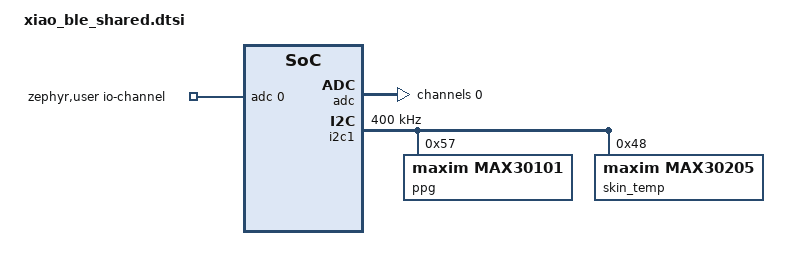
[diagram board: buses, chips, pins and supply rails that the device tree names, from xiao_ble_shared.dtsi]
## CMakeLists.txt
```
# SPDX-License-Identifier: Apache-2.0

cmake_minimum_required(VERSION 3.20.0)
find_package(Zephyr REQUIRED HINTS $ENV{ZEPHYR_BASE})
project(zephyr-poc-app)

target_sources(app PRIVATE
    src/main.c
    src/persp/persp.c
    src/ble/ble.c
    src/max/hr_main.c
    src/max/bench.c
    src/max/classic_hr.c
    src/max/spectral_hr.c
    src/skin-temp/max30205.c
)

# IMU / motion cancelling: Sense board only (xiao_ble/nrf52840/sense).
# On the plain board, src/motion/motion.h supplies stubs instead.
target_sources_ifdef(CONFIG_LSM6DSL app PRIVATE src/motion/motion.c)
```

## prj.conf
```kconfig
CONFIG_STDOUT_CONSOLE=y
CONFIG_PRINTK=y
CONFIG_PWM=y
CONFIG_LOG=y
CONFIG_LOG_PRINTK=y
# Deferred, not immediate: immediate logging holds interrupts off while it
# prints, which can trip the Bluetooth controller's timing asserts.
CONFIG_LOG_MODE_DEFERRED=y
CONFIG_LOG_BUFFER_SIZE=4096
CONFIG_PWM_LOG_LEVEL_DBG=y
CONFIG_CBPRINTF_FP_SUPPORT=y
CONFIG_I2C=y
CONFIG_CPP=y

# Explicitly enable legacy USB stack and disable the next-gen stack
CONFIG_USB_DEVICE_STACK=y
CONFIG_USB_DEVICE_STACK_NEXT=n
CONFIG_USB_DEVICE_INITIALIZE_AT_BOOT=y

# Enable serial and console over USB
CONFIG_SERIAL=y
CONFIG_CONSOLE=y
CONFIG_UART_CONSOLE=y
CONFIG_UART_LINE_CTRL=y

CONFIG_I2C=y
CONFIG_SENSOR=y
CONFIG_MAX30101=y
CONFIG_ADC=y

# Bluetooth sends will run from the sensor work item.
CONFIG_SYSTEM_WORKQUEUE_STACK_SIZE=4096

# --- Bluetooth LE peripheral -------------------------------------------------
CONFIG_BT=y
CONFIG_BT_PERIPHERAL=y
CONFIG_BT_DEVICE_NAME="Wrist-POC"
CONFIG_BT_MAX_CONN=1
# Nordic UART Service (NCS): the service the overview dashboard connects to.
CONFIG_BT_NUS=y

# Hardware floating point for the heart-rate filters and autocorrelation.
CONFIG_FPU=y

# CMSIS-DSP (ARM's DSP library, ships with NCS): the FFT in src/max/spectral_hr.c
# and the bandpass filter in src/max/bandpass.h
CONFIG_CMSIS_DSP=y
CONFIG_CMSIS_DSP_TRANSFORM=y
CONFIG_CMSIS_DSP_FILTERING=y

# Room for the bench-mode raw stream (~1.5 KB/s) if the host is briefly slow.
CONFIG_USB_CDC_ACM_RINGBUF_SIZE=4096
```

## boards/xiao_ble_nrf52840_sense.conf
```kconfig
# Added on top of prj.conf only for: west build -b xiao_ble/nrf52840/sense
# Put IMU settings here, not in prj.conf: the plain board has no IMU, so
# these options don't exist there and would break its build.
#
# The LSM6DSL driver (CONFIG_LSM6DSL) switches itself on because the Sense
# devicetree has the IMU. Its rate and range are fixed at build time:

# 104 Hz, just above the 100 Hz PPG stream
CONFIG_LSM6DSL_ACCEL_ODR=4
# +/-4 g: enough for wrist motion
CONFIG_LSM6DSL_ACCEL_FS=4
```

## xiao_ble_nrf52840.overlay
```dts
/* Plain XIAO nRF52840 (no IMU): west build -b xiao_ble/nrf52840
 * Everything lives in the shared file; edit pins and sensors there. */
#include "xiao_ble_shared.dtsi"
```

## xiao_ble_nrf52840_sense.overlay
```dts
/* XIAO nRF52840 Sense: west build -b xiao_ble/nrf52840/sense
 * Pins and sensors shared with the plain board live in the shared file;
 * edit them there.
 *
 * The board files already enable the on-board LSM6DS3TR-C IMU
 * (node label lsm6ds3tr_c, i2c0 @ 0x6a, internal pins) and its power switch,
 * so nothing extra is needed here. It does not share a bus with the
 * MAX30101, which is on i2c1. IMU-only Kconfig lives in
 * boards/xiao_ble_nrf52840_sense.conf. */
#include "xiao_ble_shared.dtsi"

/* Start the IMU driver from motion_init() instead of during boot: at boot it runs
 * right after the IMU's power switch turns on and can fail before the chip is
 * ready ("IMU ... not ready"). By motion_init() power has been stable for a while. */
&lsm6ds3tr_c {
    zephyr,deferred-init;
};
```

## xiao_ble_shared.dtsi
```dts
/* Devicetree shared by every XIAO nRF52840 build (plain and Sense).
 * Edit pins and sensors here. The per-board overlays only #include this
 * file and add what is specific to that board:
 *   xiao_ble_nrf52840.overlay        -> west build -b xiao_ble/nrf52840
 *   xiao_ble_nrf52840_sense.overlay  -> west build -b xiao_ble/nrf52840/sense
 */

#include <zephyr/dt-bindings/adc/adc.h>
#include <zephyr/dt-bindings/adc/nrf-saadc.h>
#include <zephyr/dt-bindings/i2c/i2c.h>

/ {
    zephyr,user {
        io-channels = <&adc 0>;
    };
};

&adc {
    status = "okay";
    #address-cells = <1>;
    #size-cells = <0>;

    channel@0 {
        reg = <0>;
        zephyr,gain = "ADC_GAIN_1_6";
        zephyr,reference = "ADC_REF_INTERNAL";
        zephyr,acquisition-time =
            <ADC_ACQ_TIME(ADC_ACQ_TIME_MICROSECONDS, 40)>;
        zephyr,input-positive = <NRF_SAADC_AIN0>;
        zephyr,resolution = <12>;
    };
};

&i2c1 {
    status = "okay";
    clock-frequency = <I2C_BITRATE_FAST>;   /* 400 kHz, like I2C_SPEED_FAST on the ESP32 */

    /* Same setup as the ESP32 firmware (hr-max30101-ble/src/hr_dual_channel_patched_6.cpp):
     * setup(<current>, 4, 1, 400, 411, 4096), one LED in slot 1, multi-LED mode.
     * 400 samples/s with 4x on-chip averaging = 100 samples/s into the FIFO.
     *
     * The heart-rate code reads whichever LED is in slot 1 (1 red, 2 IR, 3 green)
     * and its current from led-pa, so switching LEDs is just these two lines
     * (or at runtime from the HR testing page's LED colour menu).
     *
     * Green, full current: on the wrist with the sealed harness (2026-11-14) it gave
     * the strongest pulse, AC/DC ~0.08% (0.04-0.13) vs IR ~0.04% and red ~0.01%.
     * Even at 0xFF it only reaches ~19% of the ADC range, so there is no headroom. */
    ppg: max30101@57 {
        compatible = "maxim,max30101";
        reg = <0x57>;
        acq-mode = "multi-led";
        led-slot = <3 2 0 0>;     /* slot 1 = green (heart rate), slot 2 = IR (streamed only) */
        led-pa = [00 1F FF];      /* red, IR, green: IR 0x1F (~44% of range on the wrist), green 0xFF ~50 mA */
        smp-ave = <4>;
        smp-sr = <400>;
        led-pw = <411>;           /* 411 us, 18-bit */
        adc-rge = <4096>;
        fifo-rollover-en;
    };

    skin_temp: max30205@48 {
        compatible = "maxim,max30205";
        reg = <0x48>;
    };
};

/* Internal pull-ups on SDA/SCL, like Arduino Wire on the ESP32 does.
 * Needed if the sensor board has no (or weak) pull-ups of its own. */
&i2c1_default {
    group1 {
        bias-pull-up;
    };
};
```

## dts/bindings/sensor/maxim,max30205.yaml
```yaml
description: Maxim MAX30205 human body temperature sensor

compatible: "maxim,max30205"

include: i2c-device.yaml
```

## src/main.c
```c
#include <stdint.h>
#include <stdbool.h>
#include <errno.h>

#include <zephyr/kernel.h>
#include <zephyr/drivers/uart.h>
#include <zephyr/logging/log.h>

#include "persp/persp.h"
#include "ble/ble.h"
#include "motion/motion.h"
#include "max/hr_main.h"
#include "skin-temp/max30205.h"

/* src/max/ logs under this module too (LOG_MODULE_DECLARE). */
LOG_MODULE_REGISTER(blinky_main, LOG_LEVEL_INF);

struct sensor_data {
    int hr;
    int resp_rate;
    int skin_resistance_kohms;
    float skin_temp;
    int32_t lat_e7;
    int32_t lon_e7;
    int steps;
    uint8_t active;   /* BIT(ACT_*) set = that field comes from a working sensor */
};
static struct sensor_data sd1;

struct k_work_delayable sensor_poll;
static struct k_work_delayable ppg_poll_work;

int respiration_handler(){return 20;}
int32_t gps_lat_e7_handler(){return 0;}   /* degrees x 10^7, signed */
int32_t gps_lon_e7_handler(){return 0;}
int steps_handler(){return 145;}

/* BLE payload layout: bit offset / width, MSB-first, bit 0 reserved.
 * 120 bits -> 15 bytes. The dashboard decoder mirrors this table. */
#define PAYLOAD_LEN  15
#define F_HR_OFF      1
#define F_HR_W        9    /* bpm, 0 = no pulse */
#define F_RESP_OFF   10
#define F_RESP_W      8    /* breaths/min */
#define F_RES_OFF    18
#define F_RES_W      11    /* skin resistance kOhm, 0 = no reading */
#define F_TEMP_OFF   29
#define F_TEMP_W     11    /* skin temp degF x 10 */
#define F_LAT_OFF    40
#define F_LAT_W      32    /* degrees x 10^7, two's complement */
#define F_LON_OFF    72
#define F_LON_W      32    /* degrees x 10^7, two's complement */
#define F_STEPS_OFF 104
#define F_STEPS_W     9
/* Bits 113-118: one "sensor active" flag per field, so a 0 reading can be
 * told apart from "no sensor". Bit 119 is spare. A field whose flag is clear
 * should be ignored by the receiver. */
#define F_ACTIVE_OFF 113
enum { ACT_HR, ACT_RESP, ACT_RES, ACT_TEMP, ACT_GPS, ACT_STEPS, ACT_COUNT };

static bool hr_sensor_ok;
static bool persp_sensor_ok;
static bool temp_sensor_ok;

/* Clamp an unsigned field to [0, 2^width - 1] so an out-of-range value is
 * sent as the field maximum instead of being rejected by pack_bits() (which
 * would leave it 0, indistinguishable from "no reading"). */
static uint32_t fit(int value, unsigned width)
{
    return (uint32_t)CLAMP(value, 0, (int)((1U << width) - 1U));
}

static bool pack_bits(uint8_t *buf, size_t buf_bits, size_t offset, unsigned width, uint32_t value)
{
    if (width == 0 || width > 32 || offset > buf_bits || width > buf_bits - offset || (width < 32 && value >= (UINT32_C(1) << width))) {
        return false;
    }
    for (unsigned i = 0; i < width; ++i) {
        size_t bit = offset + i;
        unsigned value_bit = width - 1 - i;

        if ((value >> value_bit) & 1U) {
            buf[bit / 8] |= (uint8_t)(1U << (7 - bit % 8));
        }
    }
    return true;
}

static bool blt_transmit(uint8_t *data, size_t len)
{
    LOG_HEXDUMP_INF(data, len, "Payload");
    return ble_send(data, (uint16_t)len) == 0;
}

static bool data_binary_encoding(void)
{
    uint8_t payload[PAYLOAD_LEN] = {0};
    const size_t bits = sizeof(payload) * 8;
    int temp_x10 = (int)(sd1.skin_temp * 10.0f + 0.5f);   /* round, don't truncate */

    pack_bits(payload, bits, F_HR_OFF,    F_HR_W,    fit(sd1.hr, F_HR_W));
    pack_bits(payload, bits, F_RESP_OFF,  F_RESP_W,  fit(sd1.resp_rate, F_RESP_W));
    pack_bits(payload, bits, F_RES_OFF,   F_RES_W,   fit(sd1.skin_resistance_kohms, F_RES_W));
    pack_bits(payload, bits, F_TEMP_OFF,  F_TEMP_W,  fit(temp_x10, F_TEMP_W));
    /* Signed -> unsigned keeps the two's-complement bits (well defined in C). */
    pack_bits(payload, bits, F_LAT_OFF,   F_LAT_W,   (uint32_t)sd1.lat_e7);
    pack_bits(payload, bits, F_LON_OFF,   F_LON_W,   (uint32_t)sd1.lon_e7);
    pack_bits(payload, bits, F_STEPS_OFF, F_STEPS_W, fit(sd1.steps, F_STEPS_W));
    for (unsigned i = 0; i < ACT_COUNT; i++) {
        pack_bits(payload, bits, F_ACTIVE_OFF + i, 1, (sd1.active >> i) & 1U);
    }

    return blt_transmit(payload, sizeof(payload));
}

static void ppg_poll_handler(struct k_work *work)
{
    ARG_UNUSED(work);
    
    ppg_poll();

    k_work_schedule(&ppg_poll_work, K_MSEC(PPG_POLL_PERIOD_MS));
}

static void sensor_polling_handler(struct k_work *work)
{
    uint16_t resistance_kohms;
    int32_t temperature_millicelsius = 0;
    int ret;

    ARG_UNUSED(work);

    /* Respiration, temperature, GPS and steps are placeholders, not sensors,
     * so their flags stay clear. */
    sd1.active = 0;
    if (hr_sensor_ok) {
        sd1.active |= BIT(ACT_HR);
    }

    resistance_kohms = 0;
    if (persp_sensor_ok) {
        ret = persp_read_resistance_kohms(&resistance_kohms);
        if (ret < 0) {
            LOG_ERR("Failed to read skin resistance: %d", ret);
        } else {
            sd1.active |= BIT(ACT_RES);
        }
    }

    if (temp_sensor_ok) {
        ret = max30205_read_temp_millicelsius(&temperature_millicelsius);
        if (ret < 0) {
            LOG_ERR("Failed to read skin temperature: %d", ret);
        } else {
            sd1.active |= BIT(ACT_TEMP);
        }
    }


    int32_t bpm;

    sd1.hr = hr_latest(&bpm) ? bpm : 0;
    sd1.resp_rate = respiration_handler();
    sd1.skin_resistance_kohms = resistance_kohms;
    sd1.skin_temp = (temperature_millicelsius / 1000.0f) * 9.0f / 5.0f + 32.0f;
    sd1.lat_e7 = gps_lat_e7_handler();
    sd1.lon_e7 = gps_lon_e7_handler();
    sd1.steps = steps_handler();

    LOG_INF("Sensor Data - HR: %d, Resp: %d, Resistance: %d kOhm, Temp: %.1f, Lat: %d, Lon: %d, active: 0x%02x",
            sd1.hr, sd1.resp_rate, sd1.skin_resistance_kohms,
            (double)sd1.skin_temp, (int)sd1.lat_e7, (int)sd1.lon_e7, sd1.active);

    data_binary_encoding();

    k_work_schedule(&sensor_poll, K_MSEC(2000));
}

/* Boot logs go out over USB CDC, which drops output until a terminal opens
 * the port. Wait up to 5 s for one (DTR set) so boot errors aren't lost. */
static void wait_for_usb_console(void)
{
    const struct device *console = DEVICE_DT_GET(DT_CHOSEN(zephyr_console));
    uint32_t dtr = 0;

    for (int i = 0; i < 50 && !dtr; i++) {
        uart_line_ctrl_get(console, UART_LINE_CTRL_DTR, &dtr);
        k_msleep(100);
    }
}

int main(void)
{
    wait_for_usb_console();
    LOG_INF("Wrist POC booting");

    /* Say which build this is, so a serial log shows it at a glance. */
#ifdef CONFIG_LSM6DSL
    /* The spectral heart rate removes motion only if this succeeded
     * (motion_available()), so the banner matches what actually runs. */
    LOG_INF("Board: XIAO Sense build, motion removal %s",
            motion_init() ? "ON" : "OFF (IMU not found)");
#else
    LOG_INF("Board: XIAO build, motion removal OFF (no IMU)");
#endif

    /* Bluetooth failing shouldn't stop the sensors; the USB log still works. */
    LOG_INF("Enabling Bluetooth...");
    if (ble_init() < 0) {
        LOG_ERR("Bluetooth unavailable, continuing without it");
    }

    int ret = persp_init();
    persp_sensor_ok = (ret == 0);

    if (!persp_sensor_ok) {
        LOG_WRN("Failed to initialize skin-resistance sensor: %d; continuing without it",
                ret);
    }

    /* No heart-rate sensor shouldn't stop telemetry; HR is sent as 0. */
    hr_sensor_ok = (ppg_init() == 0);
    if (hr_sensor_ok) {
        k_work_init_delayable(&ppg_poll_work, ppg_poll_handler);
        k_work_schedule(&ppg_poll_work, K_MSEC(PPG_POLL_PERIOD_MS));
    } else {
        LOG_ERR("Continuing without heart rate");
    }

    /* Initialize the skin temperature sensor. */
    temp_sensor_ok = (max30205_init() == 0);
    if (!temp_sensor_ok) {
        LOG_WRN("Failed to initialize skin temperature sensor");
    }

    k_work_init_delayable(&sensor_poll, sensor_polling_handler);
    k_work_schedule(&sensor_poll, K_MSEC(2000));
    
    return 0;
}
```
